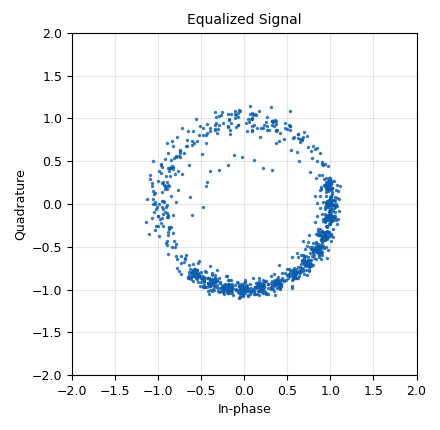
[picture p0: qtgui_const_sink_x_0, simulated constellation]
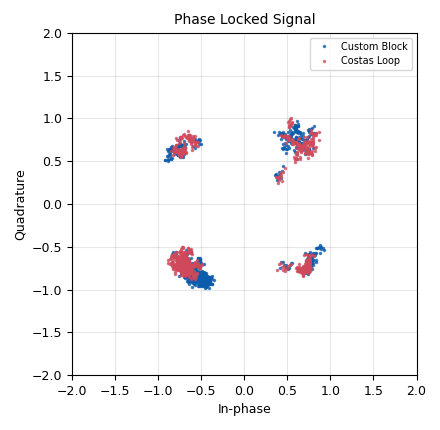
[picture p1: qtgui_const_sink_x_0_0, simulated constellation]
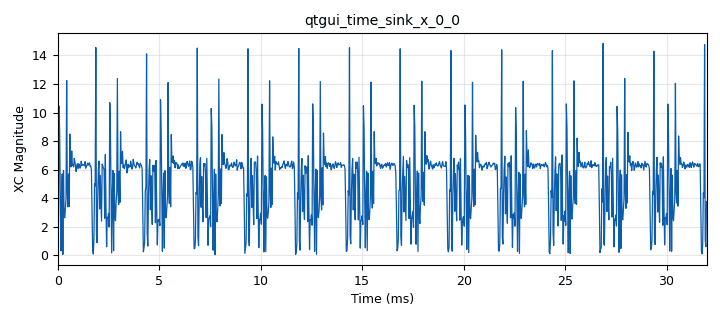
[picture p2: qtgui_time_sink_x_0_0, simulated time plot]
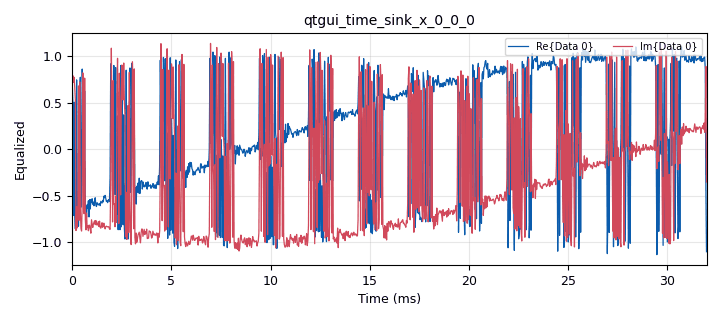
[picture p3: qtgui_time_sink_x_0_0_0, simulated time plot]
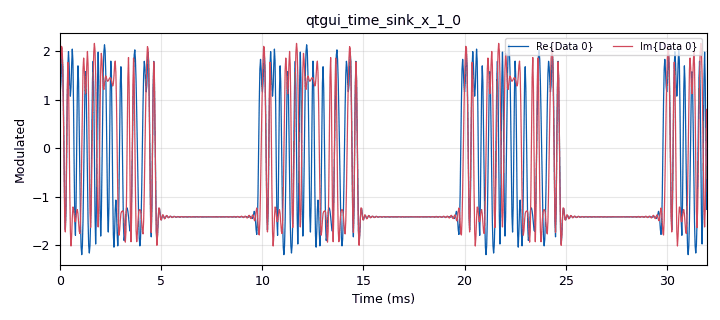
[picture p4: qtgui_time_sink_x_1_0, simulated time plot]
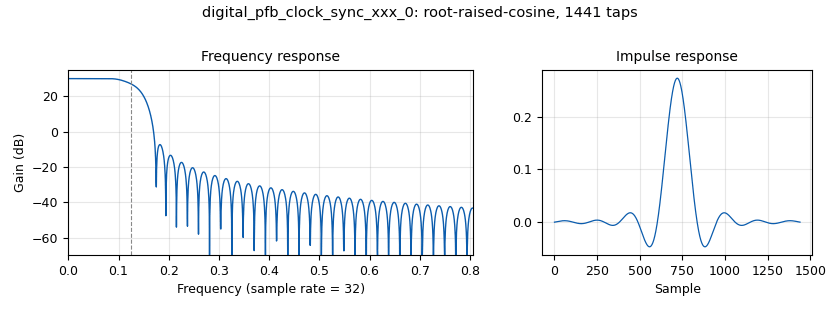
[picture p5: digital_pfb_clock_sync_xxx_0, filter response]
options:
  parameters:
    author: Naoki Pross
    generate_options: qt_gui
    id: correlator
    output_language: python
    title: Correlator Test
  states: {}

blocks:
- name: access_code_symbols
  id: variable
  parameters:
    value: '[(-1.4142135623730951-1.4142135623730951j), (1.4142135623730951-1.4142135623730951j), (1.4142135623730951+1.4142135623730951j), (1.4142135623730951+1.4142135623730951j), (-1.4142135623730951-1.4142135623730951j), (1.4142135623730951+1.4142135623730951j), (1.4142135623730951-1.4142135623730951j), (1.4142135623730951-1.4142135623730951j)]'
  states: {}
- name: access_code_symbols_sps
  id: variable
  parameters:
    value: '[(1.4142197+1.4142197j), (1.4142197+1.4142197j), (1.4142197+1.4142197j), (1.4142197+1.4142197j), (1.4142197-1.4142197j), (1.4142197-1.4142197j), (1.4142197-1.4142197j), (1.4142197-1.4142197j), (1.4142197-1.4142197j), (1.4142197-1.4142197j), (1.4142197-1.4142197j), (1.4142197-1.4142197j), (-1.4142197-1.4142197j), (-1.4142197-1.4142197j), (-1.4142197-1.4142197j), (-1.4142197-1.4142197j), (1.4142197-1.4142197j), (1.4142197-1.4142197j), (1.4142197-1.4142197j), (1.4142197-1.4142197j), (1.4142197+1.4142197j), (1.4142197+1.4142197j), (1.4142197+1.4142197j), (1.4142197+1.4142197j), (1.4142197+1.4142197j), (1.4142197+1.4142197j), (1.4142197+1.4142197j), (1.4142197+1.4142197j)]'
  states: {}
- name: const
  id: variable_constellation
  parameters:
    precision: '8'
    type: qpsk
  states: {}
- name: excess_bw
  id: variable
  parameters:
    value: '.35'
  states: {}
- name: nfilts
  id: variable
  parameters:
    value: '32'
  states: {}
- name: revconj_access_code_symbols
  id: variable
  parameters:
    value: '[(1.4142135623730951+1.4142135623730951j), (1.4142135623730951+1.4142135623730951j), (1.4142135623730951-1.4142135623730951j), (-1.4142135623730951+1.4142135623730951j), (1.4142135623730951-1.4142135623730951j), (1.4142135623730951-1.4142135623730951j), (1.4142135623730951+1.4142135623730951j), (-1.4142135623730951+1.4142135623730951j)]'
  states: {}
- name: rrc_taps
  id: variable
  parameters:
    value: firdes.root_raised_cosine(nfilts, nfilts, 1.0/float(sps), excess_bw, 45*nfilts)
  states: {}
- name: samp_rate
  id: variable
  parameters:
    value: '32000'
  states: {}
- name: sps
  id: variable
  parameters:
    value: '4'
  states: {}
- name: testvec
  id: variable
  parameters:
    value: '[31, 53] + [0x12, 0xe3, 0x9b, 0xee, 0x84, 0x23, 0x41, 0xf3] '
  states: {}
- name: timing_loop_bw
  id: variable
  parameters:
    value: 2 * 3.141592653589793 / 100
  states: {}
- name: blocks_complex_to_magphase_0
  id: blocks_complex_to_magphase
  parameters: {}
  states: {state: disabled}
- name: blocks_complex_to_magphase_0_0
  id: blocks_complex_to_magphase
  parameters: {}
  states: {}
- name: blocks_multiply_const_vxx_0
  id: blocks_multiply_const_vxx
  parameters:
    const: 180 / 3.141592653589793
    type: float
  states: {state: disabled}
- name: blocks_multiply_const_vxx_0_0
  id: blocks_multiply_const_vxx
  parameters:
    const: 180 / 3.141592653589793
    type: float
  states: {state: disabled}
- name: blocks_null_sink_3
  id: blocks_null_sink
  parameters:
    type: float
  states: {}
- name: blocks_null_source_0
  id: blocks_null_source
  parameters:
    type: byte
  states: {}
- name: blocks_stream_mux_0
  id: blocks_stream_mux
  parameters:
    lengths: '[10, len(testvec)]'
    type: byte
  states: {}
- name: blocks_stream_mux_1
  id: blocks_stream_mux
  parameters:
    lengths: '[len(access_code_symbols_sps), sps * (len(testvec) + 15)]'
    type: complex
  states: {state: disabled}
- name: blocks_throttle_0
  id: blocks_throttle
  parameters:
    samples_per_second: samp_rate
    type: complex
  states: {}
- name: blocks_vector_sink_x_0
  id: blocks_vector_sink_x
  parameters:
    type: byte
  states: {}
- name: blocks_vector_source_x_0
  id: blocks_vector_source_x
  parameters:
    repeat: 'True'
    type: byte
    vector: testvec * 1600
  states: {}
- name: blocks_vector_source_x_1
  id: blocks_vector_source_x
  parameters:
    repeat: 'True'
    type: complex
    vector: access_code_symbols_sps
  states: {state: disabled}
- name: channels_channel_model_0
  id: channels_channel_model
  parameters:
    epsilon: '1.0'
    freq_offset: '0.0001'
    noise_voltage: '0.2'
    seed: '243'
    taps: '-1.4 + .4j'
  states: {}
- name: digital_cma_equalizer_cc_0
  id: digital_cma_equalizer_cc
  parameters:
    modulus: '1'
    mu: '.002'
    num_taps: '15'
    sps: '1'
  states: {}
- name: digital_constellation_decoder_cb_0
  id: digital_constellation_decoder_cb
  parameters:
    constellation: const
  states: {}
- name: digital_constellation_modulator_0
  id: digital_constellation_modulator
  parameters:
    constellation: const
    differential: 'False'
    excess_bw: excess_bw
    samples_per_symbol: sps
  states: {}
- name: digital_corr_est_cc_0
  id: digital_corr_est_cc
  parameters:
    mark_delay: '0'
    sps: '1'
    symbols: access_code_symbols
    threshold: '.8'
    threshold_method: digital.THRESHOLD_DYNAMIC
  states: {}
- name: digital_costas_loop_cc_0
  id: digital_costas_loop_cc
  parameters:
    order: '4'
    w: 2 * 3.141592653589793 / 100
  states: {}
- name: digital_pfb_clock_sync_xxx_0
  id: digital_pfb_clock_sync_xxx
  parameters:
    filter_size: nfilts
    init_phase: '16'
    loop_bw: timing_loop_bw
    max_dev: '1.5'
    osps: '1'
    sps: sps
    taps: rrc_taps
    type: ccf
  states: {}
- name: epy_block_0
  id: epy_block
  parameters:
    _source_code: |
      import pmt

      import numpy as np
      from gnuradio import gr


      class blk(gr.sync_block):
          def __init__(self):
              gr.sync_block.__init__(
                  self,
                  name='Phase Lock',
                  in_sig=[np.complex64],
                  out_sig=[np.complex64]
              )

              # we need to keep track of the aboslute number of samples that have
              # been processed, because tags have an absolute offset
              self.counter: np.uint64 = 0

              # because we do block processing, we need to keep track of the last tag
              # of the previous block to correct the first values of the next block
              self.last = None

              # both the phase and frequency corrections should go through a low pass
              # filter to avoid werid jumps in the correction. to do that, there are
              # two buffers with an index
              self.index = 0
              self.length = 7
              self.freq = np.zeros(self.length)

          def lpf_freq(self, new_sample):
              # save new sample
              self.freq[self.index] = new_sample
              # increment index
              self.index = (self.index + 1) % self.length

              return np.sum(self.freq) / self.length

          def block_phase(self, start, end):
              # compute number of samples in block
              nsamples = end.offset - start.offset

              # unpack pmt values into start and end phase
              sphase = pmt.to_python(start.value)
              ephase = pmt.to_python(end.value)

              # compute frequency offset between start and end
              # and run it through a low pass filter (mean)
              freq = (sphase - ephase) / nsamples
              freq = self.lpf_freq(freq)

              # debugging
              print(f"Correction for block of {nsamples:2d} samples is " \
                    f"phase={sphase: .4f} rad and freq={freq*1e3: .4f} milli rad / sample")

              # compute block values
              return sphase * np.ones(nsamples) + freq * np.arange(0, nsamples)

          def work(self, input_items, output_items):
              # FIXME: replace class counter with local variable
              self.counter = self.nitems_written(0)

              # nicer aliases
              inp = input_items[0]
              out = output_items[0]

              # read phase tags
              is_phase = lambda tag: pmt.to_python(tag.key) == "phase_est"
              tags = list(filter(is_phase, self.get_tags_in_window(0, 0, len(inp))))

              if not tags:
                  print(f"There were no tags in {len(inp)} samples!")
                  out[:] = inp
                  return len(out)

              # debugging
              print(f"Processing {len(tags)} tags = {tags[-1].offset - tags[0].offset} " \
                    f"samples out of {len(inp)} input samples")

              # compute "the middle"
              enough_samples = lambda pair: ((pair[1].offset - pair[0].offset) > 0)
              pairs = list(filter(enough_samples, zip(tags, tags[1:])))
              blocks = [ self.block_phase(start, end) for (start, end) in pairs ]
              middle = np.concatenate(blocks) if blocks else []

              # compute values at the end, we do not have informations about the future
              # but we can use the frequency of the last block to approximate
              nback = len(inp) - (tags[-1].offset - self.counter)
              print(f"Processing {nback} samples at the back of the buffer")
              endfreq = self.lpf_freq(self.freq[-1])
              end = np.ones(nback) * pmt.to_python(tags[-1].value) + endfreq * np.arange(0, nback)

              # compute the "start", using the last tag from the previous call
              nfront = tags[0].offset - self.counter
              print(f"Processing {nfront} samples at the front of the buffer")
              start = self.block_phase(self.last, tags[0])[-nfront:] \
                      if self.last and nfront else np.zeros(nfront)

              # compute correction
              correction = np.exp(-1j * np.concatenate([start, middle, end]))
              length = len(correction)

              # write outputs
              out[:length] = inp[:length] * correction
              self.counter += len(inp)

              # save last tag for next call
              self.last = tags[-1]

              # FIXME: should return `length' but then the last sample is not
              #        included and self.last does something weird
              return len(out)
  states: {}
- name: fir_filter_xxx_1
  id: fir_filter_xxx
  parameters:
    decim: '1'
    taps: revconj_access_code_symbols
    type: ccc
  states: {state: disabled}
- name: qtgui_const_sink_x_0
  id: qtgui_const_sink_x
  parameters:
    gui_hint: 0,1,2,1
    name: '"Equalized Signal"'
    size: '1024'
    type: complex
  states: {}
- name: qtgui_const_sink_x_0_0
  id: qtgui_const_sink_x
  parameters:
    gui_hint: 2,1,2,1
    label1: Custom Block
    label2: Costas Loop
    name: '"Phase Locked Signal"'
    nconnections: '2'
    size: '1024'
    type: complex
  states: {}
- name: qtgui_const_sink_x_1
  id: qtgui_const_sink_x
  parameters:
    alpha1: '.5'
    autoscale: 'True'
    grid: 'True'
    gui_hint: 2,1,2,1
    marker1: '9'
    name: '"Cross Correlation"'
    size: '1024'
    style1: '2'
    type: complex
  states: {state: disabled}
- name: qtgui_time_sink_x_0
  id: qtgui_time_sink_x
  parameters:
    autoscale: 'True'
    gui_hint: 2,0,1,1
    size: '1024'
    srate: samp_rate
    type: float
    ylabel: XC Magnitude
    ymax: '20'
    ymin: '0'
  states: {state: disabled}
- name: qtgui_time_sink_x_0_0
  id: qtgui_time_sink_x
  parameters:
    autoscale: 'True'
    size: '1024'
    srate: samp_rate
    type: float
    ylabel: XC Magnitude
    ymax: '20'
    ymin: '0'
  states: {}
- name: qtgui_time_sink_x_0_0_0
  id: qtgui_time_sink_x
  parameters:
    autoscale: 'True'
    size: '1024'
    srate: samp_rate
    type: complex
    ylabel: Equalized
    ymax: '2'
    ymin: '-2'
  states: {}
- name: qtgui_time_sink_x_1_0
  id: qtgui_time_sink_x
  parameters:
    autoscale: 'True'
    gui_hint: 0,0,1,1
    size: '1024'
    srate: samp_rate
    type: complex
    ylabel: Modulated
    ymax: '2'
    ymin: '-2'
  states: {}
- name: qtgui_time_sink_x_1_1
  id: qtgui_time_sink_x
  parameters:
    autoscale: 'True'
    grid: 'True'
    gui_hint: 1,0,1,1
    size: '1024'
    srate: samp_rate
    type: complex
    ylabel: Equalized
    ymax: '2'
    ymin: '-2'
  states: {state: disabled}
- name: qtgui_time_sink_x_2
  id: qtgui_time_sink_x
  parameters:
    autoscale: 'True'
    gui_hint: 3,0,1,1
    size: '1024'
    srate: samp_rate
    type: float
    ylabel: XC Phase
  states: {state: disabled}
- name: qtgui_time_sink_x_2_0
  id: qtgui_time_sink_x
  parameters:
    autoscale: 'True'
    size: '1024'
    srate: samp_rate
    type: float
    ylabel: XC Phase
  states: {state: disabled}
- name: root_raised_cosine_filter_0
  id: root_raised_cosine_filter
  parameters:
    alpha: excess_bw
    decim: '1'
    gain: '2'
    ntaps: 11*samp_rate
    samp_rate: samp_rate
    sym_rate: sps * samp_rate
    type: fir_filter_ccf
  states: {state: disabled}
- name: virtual_sink_0
  id: virtual_sink
  parameters:
    stream_id: envelope
  states: {}
- name: virtual_sink_3
  id: virtual_sink
  parameters:
    stream_id: locked
  states: {}
- name: virtual_source_0
  id: virtual_source
  parameters:
    stream_id: envelope
  states: {}
- name: virtual_source_1
  id: virtual_source
  parameters:
    stream_id: locked
  states: {}

connections:
- [blocks_complex_to_magphase_0, '0', qtgui_time_sink_x_0, '0']
- [blocks_complex_to_magphase_0, '1', blocks_multiply_const_vxx_0, '0']
- [blocks_complex_to_magphase_0_0, '0', qtgui_time_sink_x_0_0, '0']
- [blocks_complex_to_magphase_0_0, '1', blocks_multiply_const_vxx_0_0, '0']
- [blocks_complex_to_magphase_0_0, '1', blocks_null_sink_3, '0']
- [blocks_multiply_const_vxx_0, '0', qtgui_time_sink_x_2, '0']
- [blocks_multiply_const_vxx_0_0, '0', qtgui_time_sink_x_2_0, '0']
- [blocks_null_source_0, '0', blocks_stream_mux_0, '0']
- [blocks_stream_mux_0, '0', digital_constellation_modulator_0, '0']
- [blocks_stream_mux_1, '0', channels_channel_model_0, '0']
- [blocks_throttle_0, '0', virtual_sink_0, '0']
- [blocks_vector_source_x_0, '0', blocks_stream_mux_0, '1']
- [blocks_vector_source_x_1, '0', root_raised_cosine_filter_0, '0']
- [channels_channel_model_0, '0', blocks_throttle_0, '0']
- [digital_cma_equalizer_cc_0, '0', digital_corr_est_cc_0, '0']
- [digital_cma_equalizer_cc_0, '0', fir_filter_xxx_1, '0']
- [digital_cma_equalizer_cc_0, '0', qtgui_const_sink_x_0, '0']
- [digital_cma_equalizer_cc_0, '0', qtgui_time_sink_x_1_1, '0']
- [digital_constellation_decoder_cb_0, '0', blocks_vector_sink_x_0, '0']
- [digital_constellation_modulator_0, '0', blocks_stream_mux_1, '1']
- [digital_constellation_modulator_0, '0', channels_channel_model_0, '0']
- [digital_constellation_modulator_0, '0', qtgui_time_sink_x_1_0, '0']
- [digital_corr_est_cc_0, '0', digital_costas_loop_cc_0, '0']
- [digital_corr_est_cc_0, '0', epy_block_0, '0']
- [digital_corr_est_cc_0, '0', qtgui_time_sink_x_0_0_0, '0']
- [digital_corr_est_cc_0, '1', blocks_complex_to_magphase_0_0, '0']
- [digital_costas_loop_cc_0, '0', qtgui_const_sink_x_0_0, '1']
- [digital_pfb_clock_sync_xxx_0, '0', digital_cma_equalizer_cc_0, '0']
- [epy_block_0, '0', qtgui_const_sink_x_0_0, '0']
- [epy_block_0, '0', virtual_sink_3, '0']
- [fir_filter_xxx_1, '0', blocks_complex_to_magphase_0, '0']
- [fir_filter_xxx_1, '0', qtgui_const_sink_x_1, '0']
- [root_raised_cosine_filter_0, '0', blocks_stream_mux_1, '0']
- [virtual_source_0, '0', digital_pfb_clock_sync_xxx_0, '0']
- [virtual_source_1, '0', digital_constellation_decoder_cb_0, '0']

metadata:
  file_format: 1
